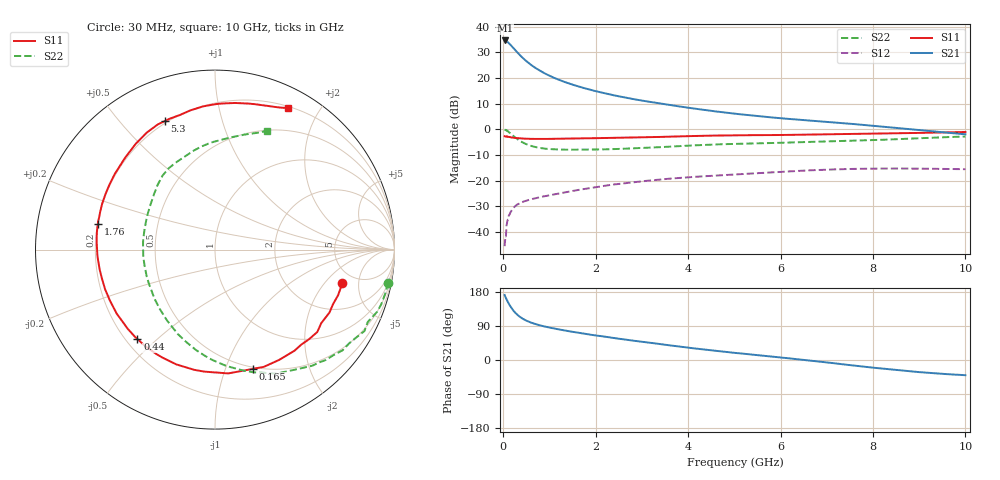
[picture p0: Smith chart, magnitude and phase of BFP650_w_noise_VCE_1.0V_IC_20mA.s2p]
! Infineon Technologies  Discrete & RF Semiconductors
! BFP650
! VCE =  1.0 V,  IC =  20 mA
! Common Emitter S-Parameters:  Jan 2016
# GHz  S  MA  R  50
!  f  S11  S21  S12  S22
! GHz  MAG  ANG  MAG  ANG  MAG  ANG  MAG  ANG
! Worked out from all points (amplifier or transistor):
!   229 points, 30 MHz to 10 GHz, reference 50 ohm
!   highest |S21| = 34.6 dB at 40 MHz (marker M1)
!   |S21| within 3 dB of that: start of sweep to 223.3 MHz
!   unconditionally stable (mu >= 1): 2.724 GHz to end of sweep
!   at 280 MHz: K = 0.24, MSG = 30.0 dB, |S12| = -29.6 dB
!   at 1.78 GHz: K = 0.89, MSG = 19.5 dB, |S12| = -23.2 dB
!   at 10 GHz: K = 1.05, MAG = 5.5 dB, |S12| = -15.5 dB
!   lowest NFmin = 0.66 dB at 450 MHz
!   S11 on the Smith chart (normalised r, x): 30 MHz: 3.86, -3.13; 165 MHz: 0.48, -1.25; 440 MHz: 0.25, -0.43; 1.76 GHz: 0.20, +0.11; 5.3 GHz: 0.19, +0.67; 10 GHz: 0.22, +1.62
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0.03  0.7334 -14.8  53.78 171.4  0.0053 87.7  0.9823 -10.8
0.04  0.7316 -20.2  53.84 168.5  0.007 78.0  0.9795 -14.4
0.08  0.7317 -38.8  51.53 158.0  0.0148 82.9  0.9482 -28.6
0.1  0.7151 -47.7  49.93 153.2  0.0174 64.3  0.912 -34.9
0.135  0.7087 -61.9  46.46 145.4  0.0219 64.5  0.8639 -46.0
0.165  0.6974 -72.3  43.48 139.9  0.0248 58.6  0.8176 -53.9
0.2  0.6938 -83.9  40.26 133.2  0.0279 55.4  0.772 -63.5
0.24  0.6824 -94.9  36.66 127.3  0.0308 50.3  0.7172 -72.4
0.3  0.6749 -108.7  31.88 119.8  0.0342 46.4  0.6511 -84.5
0.36  0.6672 -119.5  27.93 114.0  0.0362 43.0  0.5988 -94.6
0.44  0.6599 -130.9  23.8 107.7  0.0392 40.2  0.5439 -106.1
0.6  0.6536 -147.0  18.05 98.7  0.0435 38.1  0.4761 -124.3
0.9  0.6502 -165.0  12.25 88.3  0.0499 37.3  0.4208 -147.6
1.28  0.657 -179.4  8.679 79.0  0.0578 36.5  0.403 -166.5
1.7  0.6669 169.0  6.543 70.5  0.0677 36.6  0.4009 178.7
1.76  0.6685 167.5  6.322 69.3  0.069 36.3  0.4016 176.8
3.4  0.7113 136.2  3.177 41.9  0.1056 25.6  0.4498 140.8
5.1  0.7673 113.4  1.977 17.8  0.1335 12.0  0.5237 118.3
5.3  0.7689 111.2  1.893 15.3  0.1367 10.4  0.5279 115.9
6.8  0.7948 96.8  1.447 -3.6  0.1613 -3.0  0.5727 99.4
8.4  0.8347 77.1  1.087 -25.1  0.1725 -19.6  0.6359 80.9
10  0.8874 62.7  0.801 -40.1  0.1673 -31.3  0.7243 66.3
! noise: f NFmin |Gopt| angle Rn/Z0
0.45  0.66  0.07  93  1.58
0.9  0.68  0.18  172  0.18
1.9  0.84  0.29  -171  0.05
2.4  0.93  0.3  -156  0.06
3.5  1.21  0.34  -129  0.12
